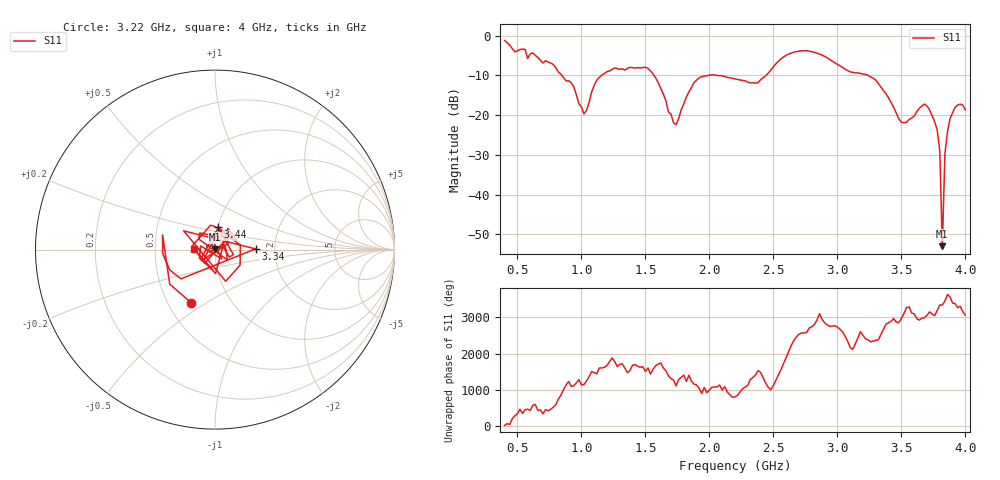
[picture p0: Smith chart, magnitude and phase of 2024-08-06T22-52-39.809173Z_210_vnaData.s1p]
!Created with skrf (http://scikit-rf.org).
# Hz S RI R 50.0
!freq ReS11 ImS11
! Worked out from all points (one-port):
!   181 points, 400 MHz to 4 GHz, reference 50 ohm
!   lowest |S11| = -52.9 dB at 3.82 GHz (marker M1), VSWR 1.00, Z = 50 + j0.225 ohm
!   |S11| at or under -10 dB: 1.567 GHz to 1.99 GHz (422.6 MHz wide, 23.8 % of centre); 2.062 GHz to 2.442 GHz (380 MHz wide, 16.9 % of centre); 3.241 GHz to end of sweep (the widest 3 of 4)
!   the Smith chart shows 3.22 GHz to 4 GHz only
!   S11 on the Smith chart (normalised r, x): 3.22 GHz: 0.65, -0.43; 3.34 GHz: 1.58, +0.01; 3.44 GHz: 1.00, +0.25; 4 GHz: 0.79, +0.00
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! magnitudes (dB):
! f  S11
! 400 MHz  -1.2
! 860 MHz  -10.5
! 940 MHz  -12.8
! 1.02 GHz  -19.7
! 1.12 GHz  -11.2
! 1.3 GHz  -8.5
! 1.52 GHz  -8.2
! 1.6 GHz  -11.8
! 1.72 GHz  -21.9
! 1.76 GHz  -20.9
! 1.92 GHz  -10.6
! 2.2 GHz  -10.9
! 2.38 GHz  -11.8
! 2.66 GHz  -4.1
! 3.1 GHz  -9.1
! 3.22 GHz  -9.8
! 3.34 GHz  -12.9
! 3.44 GHz  -18.0
! 3.5 GHz  -21.8
! 3.56 GHz  -21.1
! 3.68 GHz  -17.2
! 3.78 GHz  -23.7
! 3.8 GHz  -29.0
! 3.82 GHz  -52.9
! 3.84 GHz  -29.7
! 3.86 GHz  -24.2
! 3.92 GHz  -18.0
! 4 GHz  -18.7
